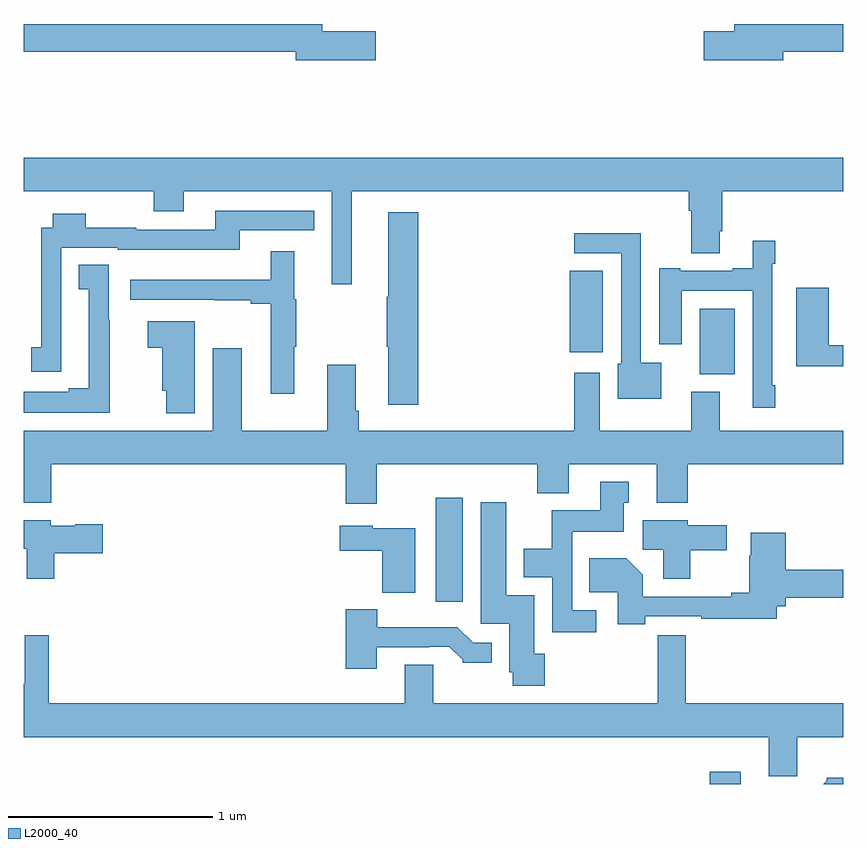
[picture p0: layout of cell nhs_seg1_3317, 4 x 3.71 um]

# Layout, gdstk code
import gdstk
lib = gdstk.Library(unit=1e-6, precision=1e-09)
def R(c, l, rs):  # rectangles x0, y0, x1, y1
    for r in rs: c.add(gdstk.rectangle(r[:2], r[2:], *l))
def P(c, l, *ps):  # polygons
    for p in ps: c.add(gdstk.Polygon(p, *l))
L2000_40 = (2000, 40)

nhs_seg1_3317 = lib.new_cell('nhs_seg1_3317')
R(nhs_seg1_3317, L2000_40, [(294.347,522.199,294.499,522.259), (293.012,523.089,293.143,523.597), (294.299,524.198,294.469,524.518), (293.666,524.307,293.827,524.705)])
P(nhs_seg1_3317, L2000_40, [(294.706,525.772),(295,525.772),(295,525.908),(294.467,525.908),(294.467,525.872),(294.318,525.872),(294.318,525.73),(294.706,525.73)],
  [(292.717,525.872),(292.456,525.872),(292.456,525.908),(291,525.908),(291,525.772),(292.328,525.772),(292.328,525.73),(292.717,525.73)],
  [(292.6,525.092),(294.245,525.092),(294.245,524.996),(294.257,524.996),(294.257,524.788),(294.397,524.788),(294.397,524.896),(294.41,524.896),(294.41,525.092),(295,525.092),(295,525.256),(291,525.256),(291,525.092),(291.634,525.092),(291.634,524.993),(291.781,524.993),(291.781,525.092),(292.503,525.092),(292.503,524.637),(292.6,524.637)],
  [(291.184,524.534),(291.183,524.534),(291.183,524.817),(291.459,524.817),(291.459,524.807),(292.054,524.807),(292.054,524.901),(292.418,524.901),(292.418,524.997),(291.935,524.997),(291.935,524.904),(291.549,524.904),(291.549,524.914),(291.303,524.914),(291.303,524.983),(291.143,524.983),(291.143,524.913),(291.086,524.913),(291.086,524.331),(291.037,524.331),(291.037,524.211),(291.184,524.211)],
  [(292.925,524.989),(292.778,524.989),(292.778,524.576),(292.771,524.576),(292.771,524.332),(292.778,524.332),(292.778,524.049),(292.925,524.049)],
  [(294.112,524.254),(294.012,524.254),(294.012,524.888),(293.688,524.888),(293.688,524.79),(293.916,524.79),(293.916,524.25),(293.9,524.25),(293.9,524.078),(294.112,524.078)],
  [(294.667,524.146),(294.654,524.146),(294.654,524.738),(294.667,524.738),(294.667,524.851),(294.557,524.851),(294.557,524.716),(294.461,524.716),(294.461,524.703),(294.205,524.703),(294.205,524.716),(294.101,524.716),(294.101,524.346),(294.211,524.346),(294.211,524.607),(294.558,524.607),(294.558,524.034),(294.667,524.034)],
  [(292.321,524.332),(292.329,524.332),(292.329,524.565),(292.321,524.565),(292.321,524.8),(292.205,524.8),(292.205,524.659),(291.519,524.659),(291.519,524.562),(291.931,524.562),(291.931,524.56),(292.109,524.56),(292.109,524.542),(292.205,524.542),(292.205,524.103),(292.321,524.103)],
  [(291.419,524.465),(291.414,524.465),(291.414,524.732),(291.268,524.732),(291.268,524.614),(291.317,524.614),(291.317,524.131),(291.221,524.131),(291.221,524.113),(291,524.113),(291,524.012),(291.419,524.012)],
  [(295,524.339),(294.928,524.339),(294.928,524.62),(294.77,524.62),(294.77,524.238),(295,524.238)],
  [(291.835,524.458),(291.606,524.458),(291.606,524.329),(291.677,524.329),(291.677,524.118),(291.695,524.118),(291.695,524.009),(291.835,524.009)],
  [(292.723,523.76),(293.507,523.76),(293.507,523.619),(293.659,523.619),(293.659,523.76),(294.089,523.76),(294.089,523.571),(294.242,523.571),(294.242,523.76),(295,523.76),(295,523.924),(294.397,523.924),(294.397,524.113),(294.257,524.113),(294.257,523.924),(293.812,523.924),(293.812,524.206),(293.687,524.206),(293.687,523.924),(292.634,523.924),(292.634,524.02),(292.621,524.02),(292.621,524.245),(292.481,524.245),(292.481,523.924),(292.063,523.924),(292.063,524.326),(291.923,524.326),(291.923,523.924),(291,523.924),(291,523.571),(291.134,523.571),(291.134,523.76),(292.571,523.76),(292.571,523.566),(292.723,523.566)],
  [(293.794,523.047),(293.676,523.047),(293.676,523.43),(293.929,523.43),(293.929,523.572),(293.953,523.572),(293.953,523.675),(293.813,523.675),(293.813,523.534),(293.578,523.534),(293.578,523.348),(293.441,523.348),(293.441,523.208),(293.58,523.208),(293.58,522.939),(293.794,522.939)],
  [(293.543,522.834),(293.491,522.834),(293.491,523.12),(293.356,523.12),(293.356,523.573),(293.231,523.573),(293.231,522.981),(293.369,522.981),(293.369,522.744),(293.386,522.744),(293.386,522.678),(293.543,522.678)],
  [(291.149,523.325),(291.385,523.325),(291.385,523.467),(291.252,523.467),(291.252,523.459),(291.132,523.459),(291.132,523.486),(291,523.486),(291,523.348),(291.014,523.348),(291.014,523.2),(291.149,523.2)],
  [(294.252,523.34),(294.43,523.34),(294.43,523.462),(294.24,523.462),(294.24,523.486),(294.02,523.486),(294.02,523.342),(294.122,523.342),(294.122,523.2),(294.252,523.2)],
  [(292.912,523.447),(292.704,523.447),(292.704,523.459),(292.542,523.459),(292.542,523.337),(292.75,523.337),(292.75,523.133),(292.912,523.133)],
  [(294.034,523.017),(294.307,523.017),(294.307,523.005),(294.676,523.005),(294.676,523.066),(294.719,523.066),(294.719,523.108),(295,523.108),(295,523.244),(294.719,523.244),(294.719,523.426),(294.548,523.426),(294.548,523.313),(294.541,523.313),(294.541,523.133),(294.452,523.133),(294.452,523.113),(294.022,523.113),(294.022,523.219),(293.941,523.3),(293.761,523.3),(293.761,523.136),(293.9,523.136),(293.9,522.979),(294.034,522.979)],
  [(292.723,522.867),(292.979,522.867),(292.979,522.87),(293.078,522.87),(293.142,522.806),(293.142,522.791),(293.284,522.791),(293.284,522.888),(293.193,522.888),(293.117,522.964),(292.726,522.964),(292.726,523.051),(292.571,523.051),(292.571,522.762),(292.723,522.762)],
  [(294.775,522.428),(295,522.428),(295,522.592),(294.23,522.592),(294.23,522.925),(294.094,522.925),(294.094,522.592),(292.999,522.592),(292.999,522.782),(292.859,522.782),(292.859,522.592),(291.122,522.592),(291.122,522.925),(291.006,522.925),(291.006,522.688),(291,522.688),(291,522.428),(294.635,522.428),(294.635,522.238),(294.775,522.238)],
  [(295,522.229),(294.918,522.229),(294.918,522.214),(294.903,522.199),(295,522.199)])

lib.write_gds('nhs_seg1_3317.gds')
